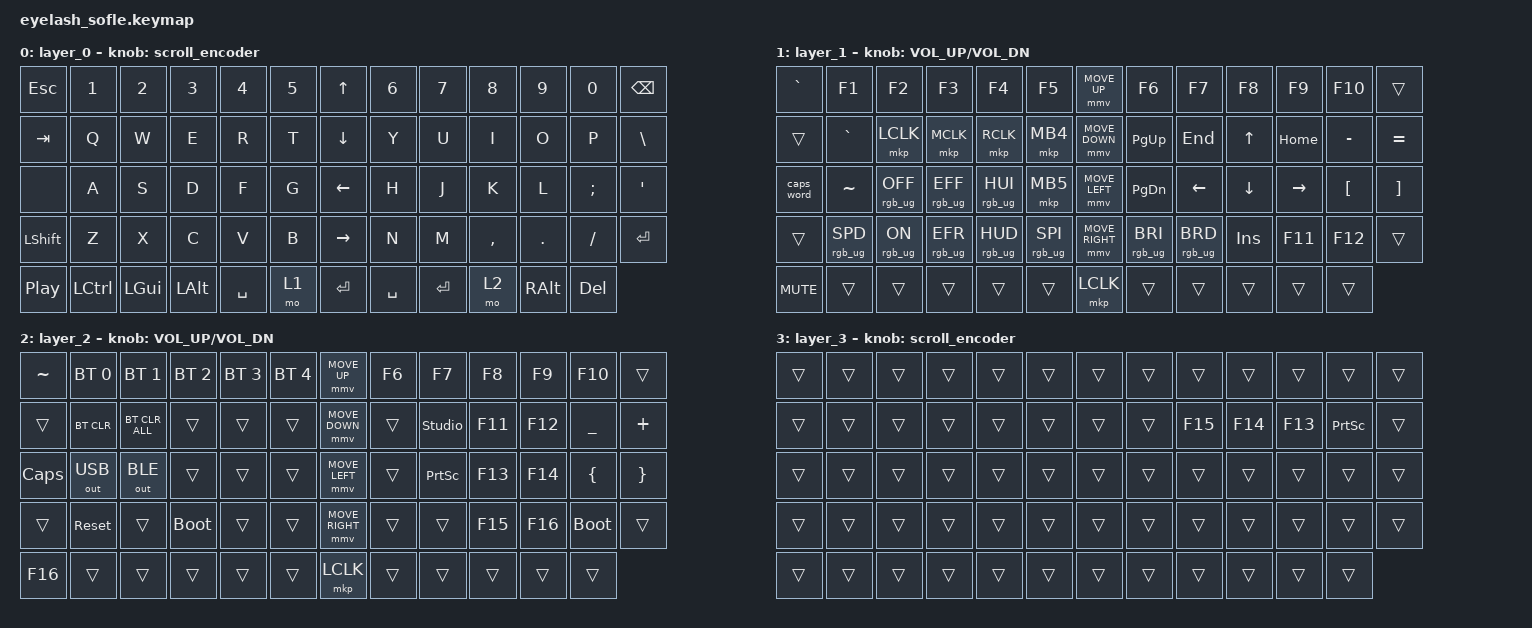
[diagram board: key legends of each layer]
#define ZMK_POINTING_DEFAULT_MOVE_VAL 1200  // 600
#define ZMK_POINTING_DEFAULT_SCRL_VAL 100   // 10

#include <input/processors.dtsi>
#include <zephyr/dt-bindings/input/input-event-codes.h>
#include <behaviors.dtsi>
#include <dt-bindings/zmk/bt.h>
#include <dt-bindings/zmk/keys.h>
#include <dt-bindings/zmk/outputs.h>
#include <dt-bindings/zmk/pointing.h>
#include <dt-bindings/zmk/pointing.h>
#include <dt-bindings/zmk/pointing.h>
#include <dt-bindings/zmk/rgb.h>

/ {
    zip_scroll_scaler: zip_scroll_scaler {
        compatible = "zmk,input-processor-scaler";
        #input-processor-cells = <2>;
        type = <INPUT_EV_REL>;
        codes = <INPUT_REL_WHEEL INPUT_REL_HWHEEL>;
        track-remainders;
    };
};

&mmv_input_listener { input-processors = <&zip_xy_scaler 2 1>; };

&msc_input_listener { input-processors = <&zip_scroll_scaler 2 1>; };

&msc {
    acceleration-exponent = <0>;      // 0
    time-to-max-speed-ms = <0>;       // 300
    delay-ms = <0>;                   // 0
};

&mmv {
    time-to-max-speed-ms = <400>;
    acceleration-exponent = <1>;
};

/ {
    scroll_encoder: scroll_encoder {
        compatible = "zmk,behavior-sensor-rotate";
        #sensor-binding-cells = <0>;
        bindings = <&msc SCRL_DOWN>, <&msc SCRL_UP>;

        tap-ms = <30>;
    };

    behaviors {
    };

    combos {
        compatible = "zmk,combos";

        siancombo {
            bindings = <&sianmacro>;
            key-positions = <28 27 46 22>;
        };
    };

    macros {
        sianmacro: sian {
            compatible = "zmk,behavior-macro";
            #binding-cells = <0>;
            bindings = <&kp LS(S) &kp LC(LS(U)) &kp N1 &kp D &kp N0 &kp RETURN &kp A &kp N>;
            label = "SIAN";
        };
    };

    keymap {
        compatible = "zmk,keymap";

        layer_0 {
            bindings = <
&kp ESC           &kp N1     &kp N2        &kp N3        &kp N4     &kp N5    &kp UP_ARROW     &kp N6     &kp N7     &kp N8     &kp N9         &kp N0      &kp BACKSPACE
&kp TAB           &kp Q      &kp W         &kp E         &kp R      &kp T     &kp DOWN_ARROW   &kp Y      &kp U      &kp I      &kp O          &kp P       &kp BSLH
&none             &kp A      &kp S         &kp D         &kp F      &kp G     &kp LEFT_ARROW   &kp H      &kp J      &kp K      &kp L          &kp SEMI    &kp APOS
&kp LSHFT         &kp Z      &kp X         &kp C         &kp V      &kp B     &kp RIGHT_ARROW  &kp N      &kp M      &kp COMMA  &kp DOT        &kp FSLH    &kp ENTER
&kp C_PLAY_PAUSE  &kp LCTRL  &kp LEFT_GUI  &kp LEFT_ALT  &kp SPACE  &mo 1     &kp ENTER        &kp SPACE  &kp ENTER  &mo 2      &kp RIGHT_ALT  &kp DELETE
            >;

            sensor-bindings = <&scroll_encoder>;
            display-name = "layer_0";
            label = "layer_0";
        };

        layer_1 {
            bindings = <
&kp GRAVE   &kp F1           &kp F2           &kp F3           &kp F4           &kp F5             &mmv MOVE_UP     &kp F6           &kp F7           &kp F8      &kp F9     &kp F10           &trans
&trans      &kp GRAVE        &mkp LCLK        &mkp MCLK        &mkp RCLK        &mkp MB4           &mmv MOVE_DOWN   &kp PG_UP        &kp END          &kp UP      &kp HOME   &kp MINUS         &kp EQUAL
&caps_word  &kp TILDE        &rgb_ug RGB_OFF  &rgb_ug RGB_EFF  &rgb_ug RGB_HUI  &mkp MB5           &mmv MOVE_LEFT   &kp PG_DN        &kp LEFT         &kp DOWN    &kp RIGHT  &kp LEFT_BRACKET  &kp RIGHT_BRACKET
&trans      &rgb_ug RGB_SPD  &rgb_ug RGB_ON   &rgb_ug RGB_EFR  &rgb_ug RGB_HUD  &rgb_ug RGB_SPI    &mmv MOVE_RIGHT  &rgb_ug RGB_BRI  &rgb_ug RGB_BRD  &kp INSERT  &kp F11    &kp F12           &trans
&kp C_MUTE  &trans           &trans           &trans           &trans           &trans             &mkp LCLK        &trans           &trans           &trans      &trans     &trans
            >;

            display-name = "layer_1";
            sensor-bindings = <&inc_dec_kp C_VOL_UP C_VOL_DN>;
        };

        layer_2 {
            bindings = <
&kp TILDE  &bt BT_SEL 0  &bt BT_SEL 1    &bt BT_SEL 2  &bt BT_SEL 3  &bt BT_SEL 4    &mmv MOVE_UP     &kp F6  &kp F7           &kp F8   &kp F9   &kp F10      &trans
&trans     &bt BT_CLR    &bt BT_CLR_ALL  &trans        &trans        &trans          &mmv MOVE_DOWN   &trans  &studio_unlock   &kp F11  &kp F12  &kp UNDER    &kp PLUS
&kp CAPS   &out OUT_USB  &out OUT_BLE    &trans        &trans        &trans          &mmv MOVE_LEFT   &trans  &kp PRINTSCREEN  &kp F13  &kp F14  &kp LBRC     &kp RBRC
&trans     &sys_reset    &trans          &bootloader   &trans        &trans          &mmv MOVE_RIGHT  &trans  &trans           &kp F15  &kp F16  &bootloader  &trans
&kp F16    &trans        &trans          &trans        &trans        &trans          &mkp LCLK        &trans  &trans           &trans   &trans   &trans
            >;

            sensor-bindings = <&inc_dec_kp C_VOL_UP C_VOL_DN>;
            label = "layer_2";
        };

        layer_3 {
            bindings = <
&trans  &trans  &trans  &trans  &trans  &trans    &trans  &trans  &trans   &trans   &trans   &trans           &trans
&trans  &trans  &trans  &trans  &trans  &trans    &trans  &trans  &kp F15  &kp F14  &kp F13  &kp PRINTSCREEN  &trans
&trans  &trans  &trans  &trans  &trans  &trans    &trans  &trans  &trans   &trans   &trans   &trans           &trans
&trans  &trans  &trans  &trans  &trans  &trans    &trans  &trans  &trans   &trans   &trans   &trans           &trans
&trans  &trans  &trans  &trans  &trans  &trans    &trans  &trans  &trans   &trans   &trans   &trans
            >;

            label = "layer_3";
            sensor-bindings = <&scroll_encoder>;
        };
    };

    conditional_layers {
        compatible = "zmk,conditional-layers";

        double {
            if-layers = <1 2>;
            then-layer = <3>;
        };
    };
};
